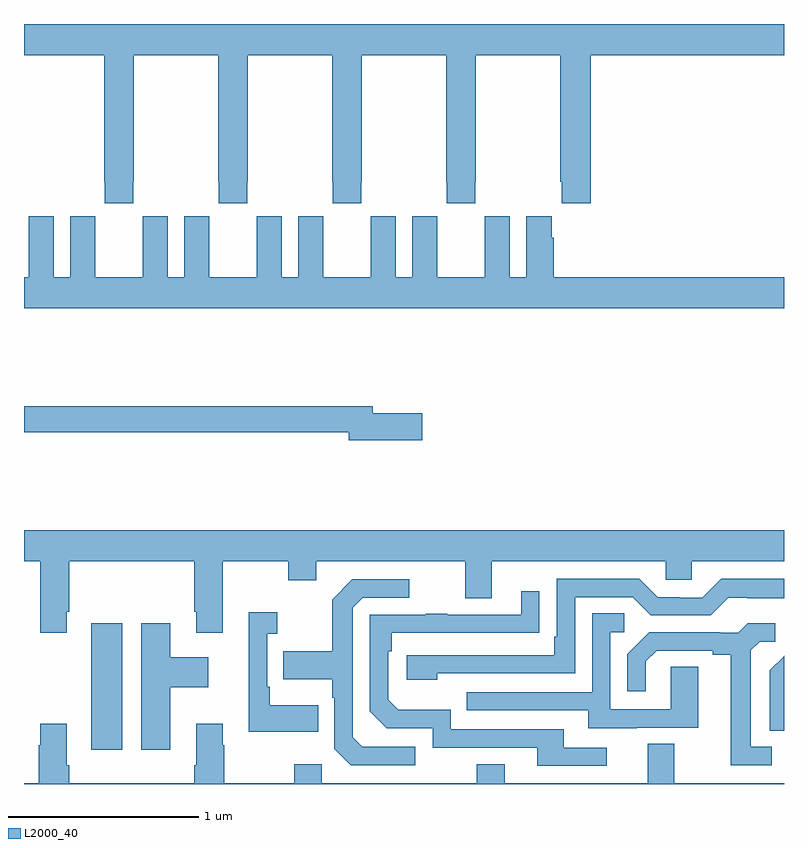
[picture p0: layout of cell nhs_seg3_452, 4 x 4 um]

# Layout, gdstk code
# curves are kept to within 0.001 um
import gdstk
lib = gdstk.Library(unit=1e-6, precision=1e-09)
def R(c, l, rs):  # rectangles x0, y0, x1, y1
    for r in rs: c.add(gdstk.rectangle(r[:2], r[2:], *l))
def P(c, l, *ps):  # polygons
    for p in ps: c.add(gdstk.Polygon(p, *l))
L2000_40 = (2000, 40)

nhs_seg3_452 = lib.new_cell('nhs_seg3_452')
R(nhs_seg3_452, L2000_40, [(133.355,710.58,133.516,711.247)])
P(nhs_seg3_452, L2000_40, [(133,714.236),(133.423,714.236),(133.423,713.569),(133.425,713.569),(133.425,713.457),(133.575,713.457),(133.575,713.569),(133.578,713.569),(133.578,714.236),(134.023,714.236),(134.023,713.569),(134.025,713.569),(134.025,713.457),(134.175,713.457),(134.175,713.569),(134.178,713.569),(134.178,714.236),(134.623,714.236),(134.623,713.569),(134.625,713.569),(134.625,713.457),(134.775,713.457),(134.775,713.569),(134.778,713.569),(134.778,714.236),(135.223,714.236),(135.223,713.569),(135.225,713.569),(135.225,713.457),(135.375,713.457),(135.375,713.569),(135.378,713.569),(135.378,714.236),(135.823,714.236),(135.823,713.569),(135.829,713.569),(135.829,713.457),(135.983,713.457),(135.983,714.236),(137,714.236),(137,714.4),(133,714.4)],
  [(137,713.068),(135.788,713.068),(135.788,713.276),(135.778,713.276),(135.778,713.389),(135.644,713.389),(135.644,713.068),(135.556,713.068),(135.556,713.389),(135.426,713.389),(135.426,713.276),(135.425,713.276),(135.425,713.068),(135.175,713.068),(135.175,713.276),(135.174,713.276),(135.174,713.389),(135.044,713.389),(135.044,713.068),(134.956,713.068),(134.956,713.389),(134.826,713.389),(134.826,713.276),(134.825,713.276),(134.825,713.068),(134.575,713.068),(134.575,713.276),(134.574,713.276),(134.574,713.389),(134.444,713.389),(134.444,713.068),(134.356,713.068),(134.356,713.389),(134.226,713.389),(134.226,713.276),(134.225,713.276),(134.225,713.068),(133.975,713.068),(133.975,713.276),(133.974,713.276),(133.974,713.389),(133.844,713.389),(133.844,713.068),(133.756,713.068),(133.756,713.389),(133.626,713.389),(133.626,713.276),(133.625,713.276),(133.625,713.068),(133.375,713.068),(133.375,713.276),(133.374,713.276),(133.374,713.389),(133.244,713.389),(133.244,713.068),(133.156,713.068),(133.156,713.389),(133.026,713.389),(133.026,713.276),(133.025,713.276),(133.025,713.068),(133,713.068),(133,712.904),(137,712.904)],
  [(135.097,712.352),(134.836,712.352),(134.836,712.388),(133,712.388),(133,712.252),(134.708,712.252),(134.708,712.21),(135.097,712.21)],
  [(133.225,711.307),(133.238,711.307),(133.238,711.572),(133.895,711.572),(133.895,711.307),(133.907,711.307),(133.907,711.195),(134.047,711.195),(134.047,711.572),(134.392,711.572),(134.392,711.473),(134.539,711.473),(134.539,711.572),(135.323,711.572),(135.323,711.378),(135.463,711.378),(135.463,711.572),(136.377,711.572),(136.377,711.474),(136.515,711.474),(136.515,711.572),(137,711.572),(137,711.736),(133,711.736),(133,711.572),(133.085,711.572),(133.085,711.195),(133.225,711.195)],
  [(135.176,710.982),(135.9,710.982),(135.9,711.384),(136.203,711.384),(136.299,711.288),(136.614,711.288),(136.707,711.381),(136.807,711.381),(136.807,711.377),(137,711.377),(137,711.481),(136.669,711.481),(136.569,711.381),(136.454,711.381),(136.454,711.384),(136.335,711.384),(136.239,711.48),(135.804,711.48),(135.804,711.175),(135.791,711.175),(135.791,711.078),(135.015,711.078),(135.015,710.948),(135.176,710.948)],
  [(135.058,710.595),(134.781,710.595),(134.73,710.646),(134.73,711.327),(134.784,711.381),(135.028,711.381),(135.028,711.477),(134.727,711.477),(134.622,711.371),(134.622,711.099),(134.365,711.099),(134.365,710.951),(134.622,710.951),(134.622,710.855),(134.634,710.855),(134.634,710.586),(134.721,710.499),(135.058,710.499)],
  [(136.066,710.592),(135.841,710.592),(135.841,710.688),(135.246,710.688),(135.246,710.791),(134.969,710.791),(134.916,710.844),(134.916,711.098),(134.936,711.098),(134.936,711.195),(135.713,711.196),(135.713,711.415),(135.617,711.415),(135.617,711.291),(135.227,711.291),(135.227,711.296),(135.115,711.296),(135.115,711.291),(134.82,711.291),(134.82,710.784),(134.91,710.694),(135.15,710.694),(135.15,710.592),(135.701,710.592),(135.701,710.496),(136.066,710.496)],
  [(134.549,710.815),(134.293,710.815),(134.293,710.911),(134.28,710.911),(134.28,711.191),(134.332,711.191),(134.332,711.304),(134.183,711.304),(134.183,710.675),(134.549,710.675)],
  [(136.225,710.697),(136.549,710.697),(136.549,711.017),(136.404,711.017),(136.404,710.793),(136.086,710.793),(136.086,711.198),(136.159,711.198),(136.159,711.299),(135.99,711.299),(135.99,710.883),(135.331,710.883),(135.331,710.787),(135.971,710.787),(135.971,710.693),(136.225,710.693)],
  [(133.771,710.909),(133.969,710.909),(133.969,711.067),(133.771,711.067),(133.771,711.247),(133.616,711.247),(133.616,710.58),(133.771,710.58)],
  [(136.936,710.595),(136.825,710.595),(136.825,711.103),(136.872,711.15),(136.954,711.15),(136.954,711.247),(136.81,711.247),(136.758,711.195),(136.664,711.195),(136.664,711.198),(136.292,711.198),(136.176,711.082),(136.176,710.889),(136.273,710.889),(136.273,711.045),(136.33,711.102),(136.625,711.102),(136.625,711.08),(136.721,711.08),(136.721,710.499),(136.936,710.499)],
  [(137,711.074),(136.998,711.072),(136.999,711.071),(136.926,710.998),(136.926,710.68),(137,710.68)],
  [(137,710.404),(136.423,710.404),(136.423,710.612),(136.283,710.612),(136.283,710.404),(135.529,710.404),(135.529,710.503),(135.382,710.503),(135.382,710.404),(134.568,710.404),(134.568,710.503),(134.422,710.503),(134.422,710.404),(134.055,710.404),(134.055,710.603),(134.047,710.603),(134.047,710.716),(133.907,710.716),(133.907,710.5),(133.895,710.5),(133.895,710.404),(133.238,710.404),(133.238,710.5),(133.225,710.5),(133.225,710.716),(133.085,710.716),(133.085,710.603),(133.078,710.603),(133.078,710.404),(133,710.404),(133,710.4),(137,710.4)])

lib.write_gds('nhs_seg3_452.gds')
